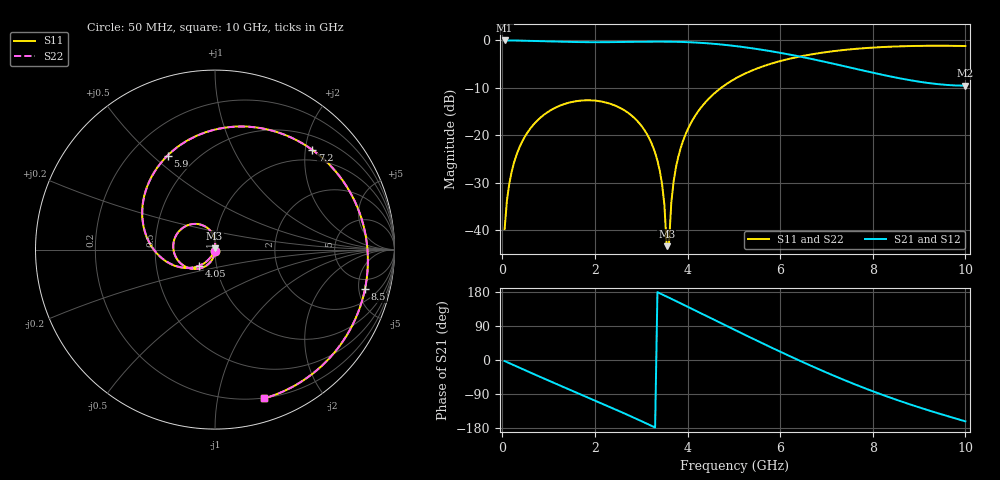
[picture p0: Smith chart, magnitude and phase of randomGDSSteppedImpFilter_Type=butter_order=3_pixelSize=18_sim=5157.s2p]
! freq	dB(S11)	phase(S11)	dB(S12)	phase(S12)
!  dB(S21)	phase(S21)	dB(S22)	phase(S22)
!S-par simulation data
#  GHz  S  DB  R 50
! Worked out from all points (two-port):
!   200 points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, 50 MHz to 10 GHz, reference 50 ohm
!   highest |S21| = 0.00 dB at 50 MHz (marker M1); lowest = -9.5 dB at 10 GHz (marker M2)
!   |S21| within 3 dB of the highest: start of sweep to 6.219 GHz
!   lowest |S11| = -43.4 dB at 3.55 GHz (marker M3), VSWR 1.01, Z = 49.8 + j0.643 ohm
!   |S11| at or under -10 dB: start of sweep to 4.725 GHz
!   |S22| runs from -42.6 to -1.1 dB; largest |S21 - S12| = 0
!   S11 on the Smith chart (normalised r, x): 50 MHz: 1.00, -0.02; 4.05 GHz: 0.82, -0.15; 5.9 GHz: 0.35, +0.56; 7.2 GHz: 0.76, +2.14; 8.5 GHz: 3.36, -5.84; 10 GHz: 0.20, -1.36
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0.05  -39.78 -92.4  -0.00 -2.8  -0.00 -2.8  -39.78 -92.4
0.2  -27.79 -101.0  -0.01 -11.0  -0.01 -11.0  -27.79 -101.0
0.5  -20.09 -117.6  -0.06 -27.4  -0.06 -27.4  -20.09 -117.6
1.15  -14.16 -152.8  -0.24 -62.2  -0.24 -62.2  -14.16 -152.7
1.75  -12.64 175.6  -0.36 -93.7  -0.36 -93.7  -12.64 175.6
2.85  -16.33 117.1  -0.29 -152.7  -0.29 -152.7  -16.33 117.4
3.2  -21.19 98.2  -0.25 -172.4  -0.25 -172.4  -21.19 98.8
3.4  -27.42 88.6  -0.25 176.1  -0.25 176.1  -27.41 90.0
3.5  -34.61 87.6  -0.25 170.3  -0.25 170.3  -34.52 91.1
3.55  -43.38 107.6  -0.25 167.4  -0.25 167.4  -42.62 115.0
3.6  -42.86 -130.8  -0.26 164.4  -0.26 164.4  -42.21 -139.3
3.65  -34.13 -117.4  -0.26 161.5  -0.26 161.5  -34.04 -120.9
3.75  -26.77 -118.8  -0.28 155.6  -0.28 155.6  -26.76 -120.4
4.05  -17.85 -134.5  -0.38 137.7  -0.38 137.7  -17.84 -135.1
4.55  -11.42 -163.8  -0.69 107.6  -0.69 107.6  -11.42 -164.2
5.05  -7.94 166.4  -1.20 77.6  -1.20 77.6  -7.94 166.1
5.9  -4.62 116.8  -2.44 27.7  -2.44 27.7  -4.62 116.6
6.7  -2.90 72.1  -3.95 -17.1  -3.95 -17.1  -2.90 72.0
7.2  -2.20 45.8  -5.02 -43.5  -5.02 -43.5  -2.20 45.7
8.35  -1.33 -8.4  -7.53 -98.1  -7.53 -98.1  -1.33 -8.4
8.5  -1.27 -14.8  -7.83 -104.6  -7.83 -104.6  -1.27 -14.8
10  -1.18 -71.8  -9.53 -161.9  -9.53 -161.9  -1.18 -71.7
